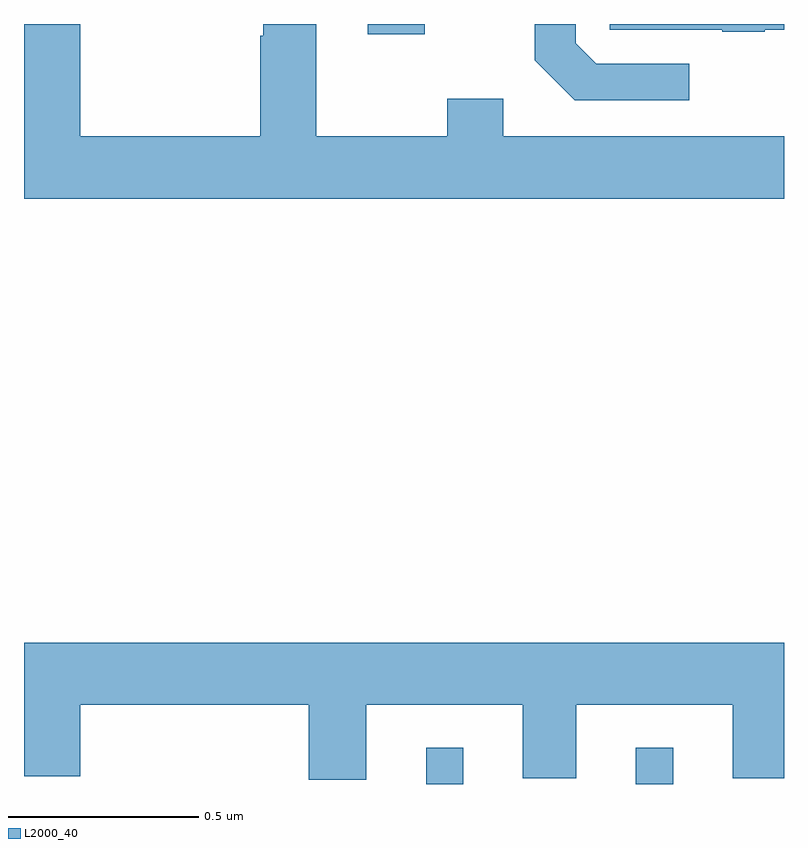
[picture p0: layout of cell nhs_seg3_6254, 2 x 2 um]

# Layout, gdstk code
import gdstk
lib = gdstk.Library(unit=1e-6, precision=1e-09)
def R(c, l, rs):  # rectangles x0, y0, x1, y1
    for r in rs: c.add(gdstk.rectangle(r[:2], r[2:], *l))
def P(c, l, *ps):  # polygons
    for p in ps: c.add(gdstk.Polygon(p, *l))
L2000_40 = (2000, 40)

nhs_seg3_6254 = lib.new_cell('nhs_seg3_6254')
R(nhs_seg3_6254, L2000_40, [(190.058,675.4,190.156,675.496), (190.61,675.4,190.708,675.496), (189.905,677.373,190.054,677.4)])
P(nhs_seg3_6254, L2000_40, [(191,677.104),(190.261,677.104),(190.261,677.203),(190.114,677.203),(190.114,677.104),(189.769,677.104),(189.769,677.4),(189.629,677.4),(189.629,677.369),(189.622,677.369),(189.622,677.104),(189.148,677.104),(189.148,677.4),(189,677.4),(189,676.94),(191,676.94)],
  [(190.949,677.385),(191,677.385),(191,677.4),(190.542,677.4),(190.542,677.385),(190.837,677.385),(190.837,677.38),(190.949,677.38)],
  [(190.75,677.295),(190.506,677.295),(190.452,677.349),(190.452,677.4),(190.344,677.4),(190.344,677.305),(190.449,677.199),(190.75,677.199)],
  [(189.901,675.608),(190.313,675.608),(190.313,675.415),(190.453,675.415),(190.453,675.608),(190.865,675.608),(190.865,675.415),(191,675.415),(191,675.772),(189,675.772),(189,675.42),(189.148,675.42),(189.148,675.608),(189.749,675.608),(189.749,675.411),(189.901,675.411)])

lib.write_gds('nhs_seg3_6254.gds')
